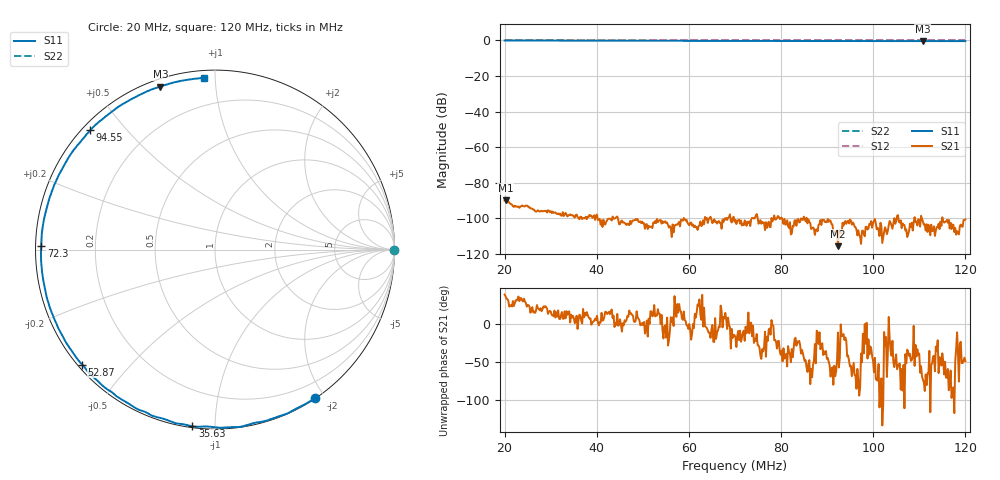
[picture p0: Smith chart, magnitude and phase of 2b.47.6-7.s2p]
! Anritsu VNA Master:  Model: MS2036C/10/77
! SN:  1601066
! /card0/usr/18may27.balun/252b.47.5.s2p
! Existing Calibration Information:
! TYPE:  Current Settings,  Active Cal Settings
! TIME:  05/27/2018 01:20:00 PM,  05/27/2018 01:14:08 PM
! INTERNAL TEMP:  52.0 C,  52.0 C
! # POINTS:  500,  500
! START FREQ:  20.000 MHz,  20.000 MHz
! STOP FREQ:  120.000 MHz,  120.000 MHz
! SOURCE POWER:  High,  High
! IFBW:  50 Hz,  50 Hz
! AVG FACTOR:  1 ,  1
! REF PLANE 1:  0 mm,  0 mm
! REF PLANE 2:  0 mm,  0 mm
! CAL TYPE:  Full S11,  Full S11
! CAL METHOD:  SOLT,  SOLT
! CAL LINE TYPE:  Coax,  Coax
! DUT PORT 1:  K-Conn(M),  K-Conn(M)
! DUT PORT 2:  K-Conn(M),  K-Conn(M)
! CAL STATUS:  OK: Accuracy High,  --
# GHZ S DB R 50.0
! FREQ.GHZ  S11DB  S11A  S21DB  S21A  S12DB  S12A  S22DB  S22A
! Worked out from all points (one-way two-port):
!   500 points, 20 MHz to 120 MHz, reference 50 ohm
!   highest |S21| = -90.06 dB at 20.2 MHz (marker M1); lowest = -115.8 dB at 92.34 MHz (marker M2)
!   lowest |S11| = -0.4 dB at 110.8 MHz (marker M3), VSWR 46.42, Z = 1.63 + j35.9 ohm
!   |S11| at or under -10 dB: nowhere
!   |S22| runs from 0.0 to 0.0 dB; largest |S21 - S12| = 1
!   S11 on the Smith chart (normalised r, x): 20 MHz: 0.01, -1.88; 35.63 MHz: 0.01, -0.88; 52.87 MHz: 0.01, -0.37; 72.3 MHz: 0.02, +0.01; 94.55 MHz: 0.02, +0.40; 120 MHz: 0.04, +0.94
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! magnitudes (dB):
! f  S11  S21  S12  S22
! 20 MHz  0.0  -90.2  0.0  0.0
! 20.2 MHz  0.0  -90.1  0.0  0.0
! 23.81 MHz  0.0  -92.9  0.0  0.0
! 27.82 MHz  -0.1  -96.1  0.0  0.0
! 29.82 MHz  0.0  -96.7  0.0  0.0
! 33.63 MHz  -0.1  -99.1  0.0  0.0
! 35.63 MHz  -0.1  -98.0  0.0  0.0
! 36.83 MHz  -0.1  -100.6  0.0  0.0
! 37.84 MHz  -0.1  -100.7  0.0  0.0
! 39.44 MHz  -0.1  -98.4  0.0  0.0
! 43.05 MHz  -0.1  -100.7  0.0  0.0
! 44.65 MHz  -0.1  -100.8  0.0  0.0
! 52.87 MHz  -0.2  -102.9  0.0  0.0
! 53.47 MHz  -0.2  -101.6  0.0  0.0
! 70.1 MHz  -0.3  -100.9  0.0  0.0
! 72.3 MHz  -0.3  -102.3  0.0  0.0
! 86.73 MHz  -0.3  -105.8  0.0  0.0
! 92.34 MHz  -0.4  -115.8  0.0  0.0
! 94.55 MHz  -0.3  -101.5  0.0  0.0
! 103.4 MHz  -0.4  -104.0  0.0  0.0
! 110.8 MHz  -0.4  -102.3  0.0  0.0
! 120 MHz  -0.4  -100.7  0.0  0.0
